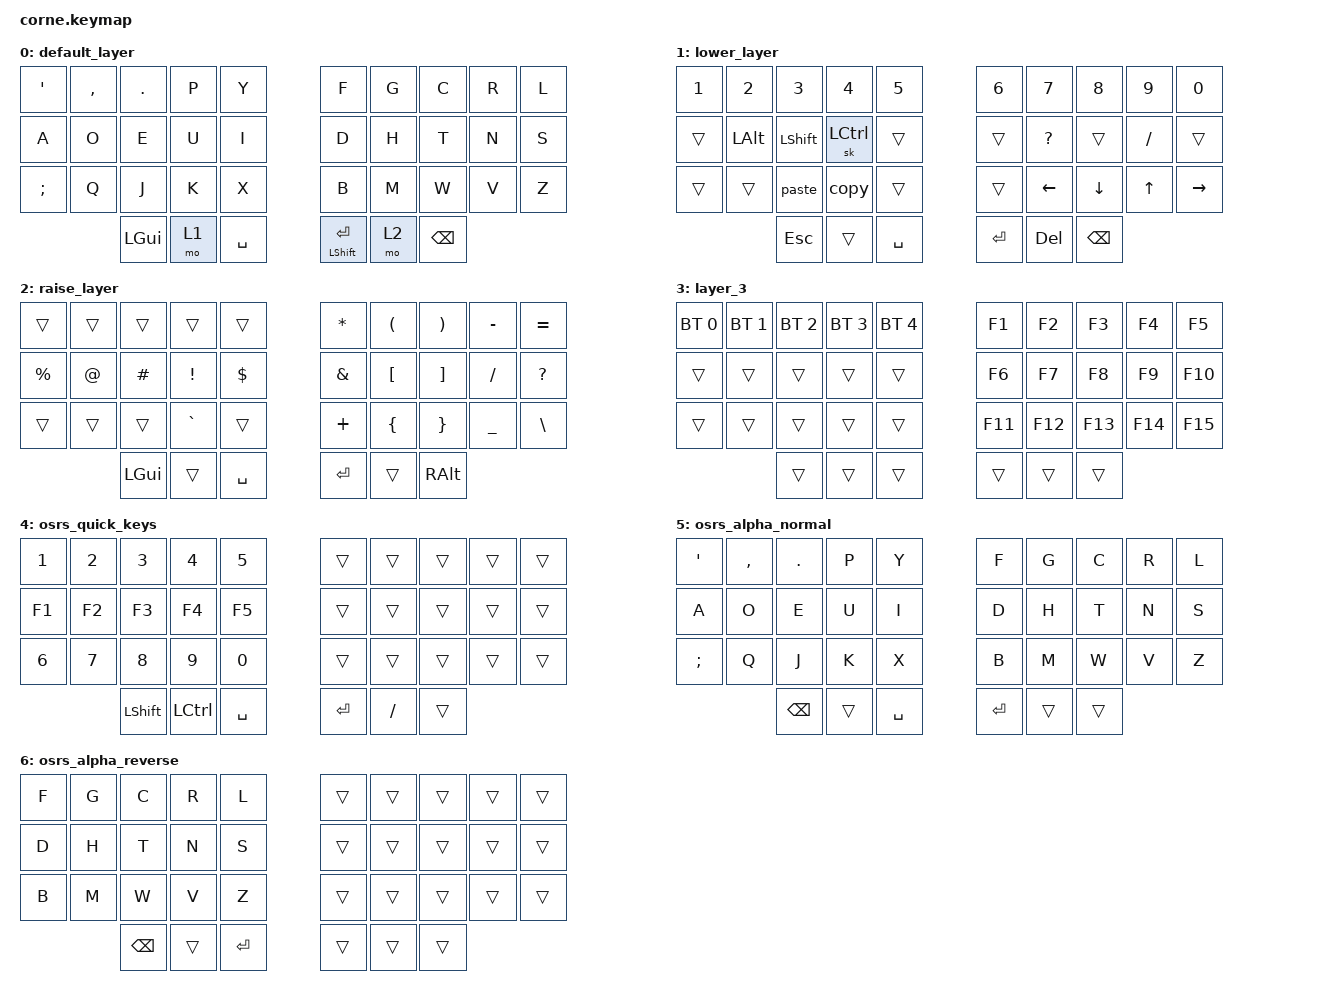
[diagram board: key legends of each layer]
/*
 * Copyright (c) 2020 The ZMK Contributors
 *
 * SPDX-License-Identifier: MIT
 */

#include <behaviors.dtsi>
#include <dt-bindings/zmk/bt.h>
#include <dt-bindings/zmk/keys.h>

/ {
    chosen { zmk,matrix_transform = &five_column_transform; };

    combos {
        compatible = "zmk,combos";

        momentary_layer_3 {
            bindings = <&mo 3>;
            key-positions = <31 34>;
        };

        toggle_osrs_quick_keys {
            bindings = <&tog 4>;
            key-positions = <11 12 13>;
        };

        two_finger_tab {
            bindings = <&kp TAB>;
            key-positions = <12 13>;
        };
    };

    macros {
        copy: copy {
            compatible = "zmk,behavior-macro";
            #binding-cells = <0>;
            bindings = <&kp LC(C)>;
            label = "COPY";
        };

        paste: paste {
            compatible = "zmk,behavior-macro";
            #binding-cells = <0>;
            bindings = <&kp LC(V)>;
            label = "PASTE";
        };
    };

    keymap {
        compatible = "zmk,keymap";

        default_layer {
            // -----------------------------------------------------------------------------------------
            // |  '  |  ,  |  .  |  P  |  Y  |   |  F  |  G   |  C  |  R  |  L  |
            // |  A  |  O  |  E  |  U  |  I  |   |  D  |  H   |  T  |  N  |  S  |
            // |  ;  |  Q  |  J  |  K  |  X  |   |  B  |  M   |  W  |  V  |  Z  |
            //             | GUI | LWR | SPC |   | ENT | RSE  | ALT |

            bindings = <
  &kp SQT        &kp COMMA  &kp PERIOD  &kp P  &kp Y        &kp F               &kp G  &kp C          &kp R  &kp L
  &kp A          &kp O      &kp E       &kp U  &kp I        &kp D               &kp H  &kp T          &kp N  &kp S
  &kp SEMICOLON  &kp Q      &kp J       &kp K  &kp X        &kp B               &kp M  &kp W          &kp V  &kp Z
                            &kp LGUI    &mo 1  &kp SPACE    &mt LEFT_SHIFT RET  &mo 2  &kp BACKSPACE
            >;
        };

        lower_layer {
            // -----------------------------------------------------------------------------------------
            // |  1  |  2  |  3  |  4  |  5  |   |  6  |  7  |  8  |  9  |  0  |
            // | BT1 | BT2 | BT3 | BT4 | BT5 |   | LFT | DWN |  UP | RGT |     |
            // |     |     |     |     |     |   |     |     |     |     |     |
            //             | GUI |     | SPC |   | ENT |     | ALT |

            bindings = <
  &kp N1  &kp N2        &kp N3      &kp N4            &kp N5       &kp N6   &kp N7        &kp N8         &kp N9     &kp N0
  &trans  &kp LEFT_ALT  &kp LSHIFT  &sk LEFT_CONTROL  &trans       &trans   &kp QUESTION  &trans         &kp SLASH  &trans
  &trans  &trans        &paste      &copy             &trans       &trans   &kp LEFT      &kp DOWN       &kp UP     &kp RIGHT
                        &kp ESCAPE  &trans            &kp SPACE    &kp RET  &kp DEL       &kp BACKSPACE
            >;
        };

        raise_layer {
            // -----------------------------------------------------------------------------------------
            // |  !  |  @  |  #  |  $  |  %  |   |  ^  |  &  |  *  |  (  |  )  |
            // |     |     |     |     |     |   |  -  |  =  |  [  |  ]  |  \  |
            // |     |     |     |     |     |   |  _  |  +  |  {  |  }  | "|" |
            //             | GUI |     | SPC |   | ENT |     | ALT |

            bindings = <
  &trans       &trans  &trans    &trans           &trans        &kp ASTERISK   &kp LEFT_PARENTHESIS  &kp RIGHT_PARENTHESIS  &kp MINUS       &kp EQUAL
  &kp PERCENT  &kp AT  &kp HASH  &kp EXCLAMATION  &kp DOLLAR    &kp AMPERSAND  &kp LEFT_BRACKET      &kp RIGHT_BRACKET      &kp SLASH       &kp QUESTION
  &trans       &trans  &trans    &kp GRAVE        &trans        &kp PLUS       &kp LEFT_BRACE        &kp RIGHT_BRACE        &kp UNDERSCORE  &kp BACKSLASH
                       &kp LGUI  &trans           &kp SPACE     &kp RET        &trans                &kp RALT
            >;
        };

        layer_3 {
            bindings = <
  &bt BT_SEL 0  &bt BT_SEL 1  &bt BT_SEL 2  &bt BT_SEL 3  &bt BT_SEL 4    &kp F1   &kp F2   &kp F3   &kp F4   &kp F5
  &trans        &trans        &trans        &trans        &trans          &kp F6   &kp F7   &kp F8   &kp F9   &kp F10
  &trans        &trans        &trans        &trans        &trans          &kp F11  &kp F12  &kp F13  &kp F14  &kp F15
                              &trans        &trans        &trans          &trans   &trans   &trans
            >;
        };

        osrs_quick_keys {
            bindings = <
  &kp N1  &kp N2  &kp N3     &kp N4     &kp N5       &trans     &trans     &trans  &trans  &trans
  &kp F1  &kp F2  &kp F3     &kp F4     &kp F5       &trans     &trans     &trans  &trans  &trans
  &kp N6  &kp N7  &kp N8     &kp N9     &kp N0       &trans     &trans     &trans  &trans  &trans
                  &kp LSHFT  &kp LCTRL  &kp SPACE    &kp ENTER  &kp SLASH  &trans
            >;
        };

        osrs_alpha_normal {
            bindings = <
  &kp APOS  &kp COMMA  &kp DOT   &kp P   &kp Y        &kp F      &kp G   &kp C   &kp R  &kp L
  &kp A     &kp O      &kp E     &kp U   &kp I        &kp D      &kp H   &kp T   &kp N  &kp S
  &kp SEMI  &kp Q      &kp J     &kp K   &kp X        &kp B      &kp M   &kp W   &kp V  &kp Z
                       &kp BSPC  &trans  &kp SPACE    &kp ENTER  &trans  &trans
            >;
        };

        osrs_alpha_reverse {
            bindings = <
  &kp F  &kp G  &kp C     &kp R   &kp L        &trans  &trans  &trans  &trans  &trans
  &kp D  &kp H  &kp T     &kp N   &kp S        &trans  &trans  &trans  &trans  &trans
  &kp B  &kp M  &kp W     &kp V   &kp Z        &trans  &trans  &trans  &trans  &trans
                &kp BSPC  &trans  &kp ENTER    &trans  &trans  &trans
            >;
        };
    };
};
